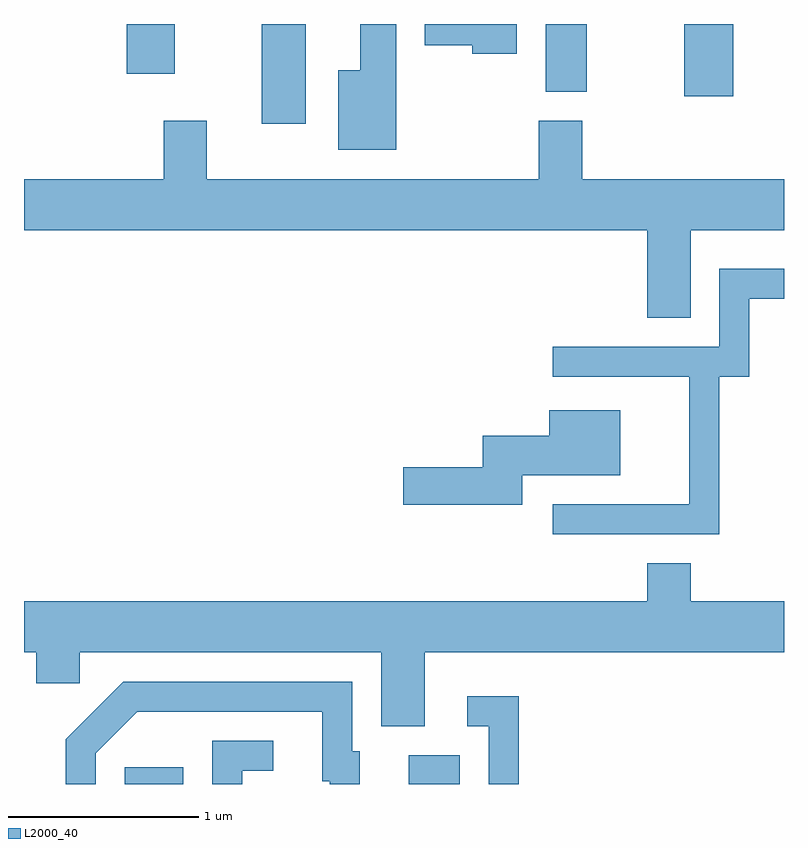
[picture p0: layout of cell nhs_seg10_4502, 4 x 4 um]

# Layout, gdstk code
import gdstk
lib = gdstk.Library(unit=1e-6, precision=1e-09)
def R(c, l, rs):  # rectangles x0, y0, x1, y1
    for r in rs: c.add(gdstk.rectangle(r[:2], r[2:], *l))
def P(c, l, *ps):  # polygons
    for p in ps: c.add(gdstk.Polygon(p, *l))
L2000_40 = (2000, 40)

nhs_seg10_4502 = lib.new_cell('nhs_seg10_4502')
R(nhs_seg10_4502, L2000_40, [(318.141,2146.522,318.449,2146.609), (319.636,2146.522,319.904,2146.674), (318.861,2149.996,319.094,2150.522), (321.086,2150.141,321.344,2150.522), (320.356,2150.166,320.574,2150.522), (318.151,2150.261,318.404,2150.522)])
P(nhs_seg10_4502, L2000_40, [(320.204,2150.522),(319.721,2150.522),(319.721,2150.411),(319.971,2150.411),(319.971,2150.366),(320.204,2150.366)],
  [(319.569,2150.522),(319.381,2150.522),(319.381,2150.279),(319.266,2150.279),(319.266,2149.861),(319.569,2149.861)],
  [(321.119,2149.436),(321.611,2149.436),(321.611,2149.704),(320.549,2149.704),(320.549,2150.014),(320.321,2150.014),(320.321,2149.704),(318.574,2149.704),(318.574,2150.014),(318.346,2150.014),(318.346,2149.704),(317.611,2149.704),(317.611,2149.436),(320.891,2149.436),(320.891,2148.976),(321.119,2148.976)],
  [(321.269,2148.666),(321.429,2148.666),(321.429,2149.076),(321.611,2149.076),(321.611,2149.234),(321.271,2149.234),(321.271,2148.824),(320.393,2148.824),(320.393,2148.666),(321.111,2148.666),(321.111,2147.994),(320.393,2147.994),(320.393,2147.836),(321.269,2147.836)],
  [(320.234,2148.146),(320.749,2148.146),(320.749,2148.489),(320.376,2148.489),(320.376,2148.354),(320.026,2148.354),(320.026,2148.189),(319.606,2148.189),(319.606,2147.991),(320.234,2147.991)],
  [(319.719,2147.216),(321.611,2147.216),(321.611,2147.484),(321.119,2147.484),(321.119,2147.684),(320.891,2147.684),(320.891,2147.484),(317.611,2147.484),(317.611,2147.216),(317.676,2147.216),(317.676,2147.051),(317.904,2147.051),(317.904,2147.216),(319.491,2147.216),(319.491,2146.826),(319.719,2146.826)],
  [(317.989,2146.684),(318.207,2146.901),(319.181,2146.901),(319.181,2146.536),(319.221,2146.536),(319.221,2146.522),(319.379,2146.522),(319.379,2146.694),(319.339,2146.694),(319.339,2147.059),(318.134,2147.059),(317.831,2146.757),(317.831,2146.522),(317.989,2146.522)],
  [(320.214,2146.984),(319.943,2146.984),(319.943,2146.826),(320.056,2146.826),(320.056,2146.522),(320.214,2146.522)],
  [(318.759,2146.591),(318.923,2146.591),(318.923,2146.749),(318.601,2146.749),(318.601,2146.522),(318.759,2146.522)])

lib.write_gds('nhs_seg10_4502.gds')
